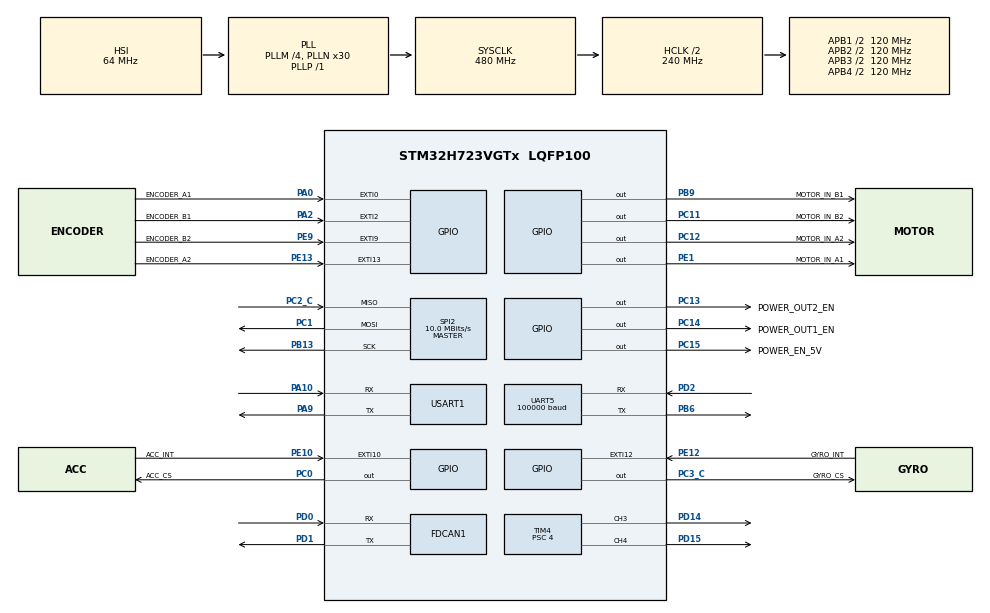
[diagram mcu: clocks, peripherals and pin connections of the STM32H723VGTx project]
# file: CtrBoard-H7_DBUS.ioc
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Dma.Request0=USART1_RX
Dma.Request1=SPI2_RX
Dma.Request2=SPI2_TX
Dma.Request3=UART5_RX
Dma.SPI2_RX.1.Direction=DMA_PERIPH_TO_MEMORY
Dma.SPI2_RX.1.EventEnable=DISABLE
Dma.SPI2_RX.1.FIFOMode=DMA_FIFOMODE_DISABLE
Dma.SPI2_RX.1.Instance=DMA1_Stream1
Dma.SPI2_RX.1.MemDataAlignment=DMA_MDATAALIGN_BYTE
Dma.SPI2_RX.1.MemInc=DMA_MINC_ENABLE
Dma.SPI2_RX.1.Mode=DMA_NORMAL
Dma.SPI2_RX.1.PeriphDataAlignment=DMA_PDATAALIGN_BYTE
Dma.SPI2_RX.1.PeriphInc=DMA_PINC_DISABLE
Dma.SPI2_RX.1.Polarity=HAL_DMAMUX_REQ_GEN_RISING
Dma.SPI2_RX.1.Priority=DMA_PRIORITY_VERY_HIGH
Dma.SPI2_RX.1.RequestNumber=1
Dma.SPI2_RX.1.SignalID=NONE
Dma.SPI2_RX.1.SyncEnable=DISABLE
Dma.SPI2_RX.1.SyncPolarity=HAL_DMAMUX_SYNC_NO_EVENT
Dma.SPI2_RX.1.SyncRequestNumber=1
Dma.SPI2_RX.1.SyncSignalID=NONE
Dma.SPI2_TX.2.Direction=DMA_MEMORY_TO_PERIPH
Dma.SPI2_TX.2.EventEnable=DISABLE
Dma.SPI2_TX.2.FIFOMode=DMA_FIFOMODE_DISABLE
Dma.SPI2_TX.2.Instance=DMA1_Stream2
Dma.SPI2_TX.2.MemDataAlignment=DMA_MDATAALIGN_BYTE
Dma.SPI2_TX.2.MemInc=DMA_MINC_ENABLE
Dma.SPI2_TX.2.Mode=DMA_NORMAL
Dma.SPI2_TX.2.PeriphDataAlignment=DMA_PDATAALIGN_BYTE
Dma.SPI2_TX.2.PeriphInc=DMA_PINC_DISABLE
Dma.SPI2_TX.2.Polarity=HAL_DMAMUX_REQ_GEN_RISING
Dma.SPI2_TX.2.Priority=DMA_PRIORITY_HIGH
Dma.SPI2_TX.2.RequestNumber=1
Dma.SPI2_TX.2.SignalID=NONE
Dma.SPI2_TX.2.SyncEnable=DISABLE
Dma.SPI2_TX.2.SyncPolarity=HAL_DMAMUX_SYNC_NO_EVENT
Dma.SPI2_TX.2.SyncRequestNumber=1
Dma.SPI2_TX.2.SyncSignalID=NONE
Dma.UART5_RX.3.Direction=DMA_PERIPH_TO_MEMORY
Dma.UART5_RX.3.EventEnable=DISABLE
Dma.UART5_RX.3.FIFOMode=DMA_FIFOMODE_DISABLE
Dma.UART5_RX.3.Instance=DMA1_Stream3
Dma.UART5_RX.3.MemDataAlignment=DMA_MDATAALIGN_BYTE
Dma.UART5_RX.3.MemInc=DMA_MINC_ENABLE
Dma.UART5_RX.3.Mode=DMA_NORMAL
Dma.UART5_RX.3.PeriphDataAlignment=DMA_PDATAALIGN_BYTE
Dma.UART5_RX.3.PeriphInc=DMA_PINC_DISABLE
Dma.UART5_RX.3.Polarity=HAL_DMAMUX_REQ_GEN_RISING
Dma.UART5_RX.3.Priority=DMA_PRIORITY_LOW
Dma.UART5_RX.3.RequestNumber=1
Dma.UART5_RX.3.SignalID=NONE
Dma.UART5_RX.3.SyncEnable=DISABLE
Dma.UART5_RX.3.SyncPolarity=HAL_DMAMUX_SYNC_NO_EVENT
Dma.UART5_RX.3.SyncRequestNumber=1
Dma.UART5_RX.3.SyncSignalID=NONE
Dma.USART1_RX.0.Direction=DMA_PERIPH_TO_MEMORY
Dma.USART1_RX.0.EventEnable=DISABLE
Dma.USART1_RX.0.FIFOMode=DMA_FIFOMODE_DISABLE
Dma.USART1_RX.0.Instance=DMA1_Stream0
Dma.USART1_RX.0.MemDataAlignment=DMA_MDATAALIGN_BYTE
Dma.USART1_RX.0.MemInc=DMA_MINC_ENABLE
Dma.USART1_RX.0.Mode=DMA_NORMAL
Dma.USART1_RX.0.PeriphDataAlignment=DMA_PDATAALIGN_BYTE
Dma.USART1_RX.0.PeriphInc=DMA_PINC_DISABLE
Dma.USART1_RX.0.Polarity=HAL_DMAMUX_REQ_GEN_RISING
Dma.USART1_RX.0.Priority=DMA_PRIORITY_LOW
Dma.USART1_RX.0.RequestNumber=1
Dma.USART1_RX.0.SignalID=NONE
Dma.USART1_RX.0.SyncEnable=DISABLE
Dma.USART1_RX.0.SyncPolarity=HAL_DMAMUX_SYNC_NO_EVENT
Dma.USART1_RX.0.SyncRequestNumber=1
Dma.USART1_RX.0.SyncSignalID=NONE
FDCAN1.AutoRetransmission=ENABLE
FDCAN1.CalculateBaudRateNominal=1000000
FDCAN1.CalculateTimeBitNominal=1000
FDCAN1.CalculateTimeQuantumNominal=12.5
FDCAN1.DataSyncJumpWidth=2
FDCAN1.DataTimeSeg1=13
FDCAN1.DataTimeSeg2=2
FDCAN1.ExtFiltersNbr=4
FDCAN1.FrameFormat=FDCAN_FRAME_CLASSIC
FDCAN1.NominalPrescaler=1
FDCAN1.NominalSyncJumpWidth=20
FDCAN1.NominalTimeSeg1=59
FDCAN1.NominalTimeSeg2=20
FDCAN1.ProtocolException=ENABLE
FDCAN1.RxBuffersNbr=2
FDCAN1.RxFifo0ElmtsNbr=8
FDCAN1.RxFifo1ElmtsNbr=8
FDCAN1.StdFiltersNbr=4
FDCAN1.TxBuffersNbr=8
FDCAN1.TxEventsNbr=8
FDCAN1.TxFifoQueueElmtsNbr=8
Mcu.Family=STM32H7
Mcu.Name=STM32H723VGTx
Mcu.Package=LQFP100
NVIC.DMA1_Stream0_IRQn=true\:0\:0\:false\:false\:true\:false\:true\:true
NVIC.DMA1_Stream1_IRQn=true\:0\:0\:false\:false\:true\:false\:true\:true
NVIC.DMA1_Stream2_IRQn=true\:0\:0\:false\:false\:true\:false\:true\:true
NVIC.DMA1_Stream3_IRQn=true\:0\:0\:false\:false\:true\:false\:true\:true
NVIC.EXTI0_IRQn=true\:0\:0\:false\:false\:true\:true\:true\:true
NVIC.EXTI15_10_IRQn=true\:0\:0\:false\:false\:true\:true\:true\:true
NVIC.EXTI2_IRQn=true\:0\:0\:false\:false\:true\:true\:true\:true
NVIC.EXTI9_5_IRQn=true\:0\:0\:false\:false\:true\:true\:true\:true
NVIC.FDCAN1_IT0_IRQn=true\:0\:0\:false\:false\:true\:true\:true\:true
NVIC.FDCAN1_IT1_IRQn=true\:0\:0\:false\:false\:true\:true\:true\:true
NVIC.PriorityGroup=NVIC_PRIORITYGROUP_4
NVIC.SPI2_IRQn=true\:0\:0\:false\:false\:true\:true\:true\:true
NVIC.TIM2_IRQn=true\:0\:0\:false\:false\:true\:true\:true\:true
NVIC.UART5_IRQn=true\:0\:0\:false\:false\:true\:true\:true\:true
NVIC.USART1_IRQn=true\:0\:0\:false\:false\:true\:true\:true\:true
PA0.GPIO_Label=ENCODER_A1
PA0.GPIO_ModeDefaultEXTI=GPIO_MODE_IT_RISING_FALLING
PA0.GPIO_PuPd=GPIO_NOPULL
PA0.Signal=GPXTI0
PA10.Mode=Asynchronous
PA10.Signal=USART1_RX
PA13(JTMS/SWDIO).Mode=Serial_Wire
PA13(JTMS/SWDIO).Signal=DEBUG_JTMS-SWDIO
PA14(JTCK/SWCLK).Mode=Serial_Wire
PA14(JTCK/SWCLK).Signal=DEBUG_JTCK-SWCLK
PA2.GPIO_Label=ENCODER_B1
PA2.GPIO_ModeDefaultEXTI=GPIO_MODE_IT_RISING_FALLING
PA2.GPIO_PuPd=GPIO_NOPULL
PA2.Signal=GPXTI2
PA9.Mode=Asynchronous
PA9.Signal=USART1_TX
PB13.GPIO_Speed=GPIO_SPEED_FREQ_VERY_HIGH
PB13.Mode=Full_Duplex_Master
PB13.Signal=SPI2_SCK
PB6.Mode=Asynchronous
PB6.Signal=UART5_TX
PB9.GPIO_Label=MOTOR_IN_B1
PB9.GPIO_Speed=GPIO_SPEED_FREQ_MEDIUM
PB9.Signal=GPIO_Output
PC0.GPIO_Label=ACC_CS
PC0.GPIO_Speed=GPIO_SPEED_FREQ_VERY_HIGH
PC0.PinState=GPIO_PIN_SET
PC0.Signal=GPIO_Output
PC1.GPIO_Speed=GPIO_SPEED_FREQ_VERY_HIGH
PC1.Mode=Full_Duplex_Master
PC1.Signal=SPI2_MOSI
PC11.GPIO_Label=MOTOR_IN_B2
PC11.GPIO_ModeDefaultOutputPP=GPIO_MODE_OUTPUT_PP
PC11.GPIO_PuPd=GPIO_NOPULL
PC11.GPIO_Speed=GPIO_SPEED_FREQ_MEDIUM
PC11.PinState=GPIO_PIN_RESET
PC11.Signal=GPIO_Output
PC12.GPIO_Label=MOTOR_IN_A2
PC12.GPIO_PuPd=GPIO_NOPULL
PC12.GPIO_Speed=GPIO_SPEED_FREQ_MEDIUM
PC12.Signal=GPIO_Output
PC13.GPIO_Label=POWER_OUT2_EN
PC13.GPIO_PuPd=GPIO_PULLUP
PC13.Signal=GPIO_Output
PC14-OSC32_IN.GPIO_Label=POWER_OUT1_EN
PC14-OSC32_IN.GPIO_PuPd=GPIO_PULLUP
PC14-OSC32_IN.PinState=GPIO_PIN_SET
PC14-OSC32_IN.Signal=GPIO_Output
PC15-OSC32_OUT.GPIO_Label=POWER_EN_5V
PC15-OSC32_OUT.GPIO_ModeDefaultOutputPP=GPIO_MODE_OUTPUT_PP
PC15-OSC32_OUT.GPIO_PuPd=GPIO_PULLUP
PC15-OSC32_OUT.PinState=GPIO_PIN_SET
PC15-OSC32_OUT.Signal=GPIO_Output
PC2_C.GPIO_Speed=GPIO_SPEED_FREQ_VERY_HIGH
PC2_C.Mode=Full_Duplex_Master
PC2_C.Signal=SPI2_MISO
PC3_C.GPIO_Label=GYRO_CS
PC3_C.GPIO_Speed=GPIO_SPEED_FREQ_VERY_HIGH
PC3_C.PinState=GPIO_PIN_SET
PC3_C.Signal=GPIO_Output
PD0.Mode=FDCAN_Activate
PD0.Signal=FDCAN1_RX
PD1.Mode=FDCAN_Activate
PD1.Signal=FDCAN1_TX
PD14.GPIO_PuPd=GPIO_PULLDOWN
PD14.Signal=S_TIM4_CH3
PD15.GPIO_PuPd=GPIO_PULLDOWN
PD15.Signal=S_TIM4_CH4
PD2.Mode=Asynchronous
PD2.Signal=UART5_RX
PE1.GPIO_Label=MOTOR_IN_A1
PE1.GPIO_PuPd=GPIO_NOPULL
PE1.GPIO_Speed=GPIO_SPEED_FREQ_MEDIUM
PE1.PinState=GPIO_PIN_RESET
PE1.Signal=GPIO_Output
PE10.GPIO_Label=ACC_INT
PE10.Signal=GPXTI10
PE12.GPIO_Label=GYRO_INT
PE12.Signal=GPXTI12
PE13.GPIO_Label=ENCODER_A2
PE13.GPIO_ModeDefaultEXTI=GPIO_MODE_IT_RISING_FALLING
PE13.GPIO_PuPd=GPIO_NOPULL
PE13.Signal=GPXTI13
PE9.GPIO_Label=ENCODER_B2
PE9.GPIO_ModeDefaultEXTI=GPIO_MODE_IT_RISING_FALLING
PE9.GPIO_PuPd=GPIO_NOPULL
PE9.Signal=GPXTI9
PH0-OSC_IN.Mode=HSE-External-Oscillator
PH0-OSC_IN.Signal=RCC_OSC_IN
PH1-OSC_OUT.Mode=HSE-External-Oscillator
PH1-OSC_OUT.Signal=RCC_OSC_OUT
ProjectManager.HeapSize=0x200
ProjectManager.StackSize=0x400
ProjectManager.TargetToolchain=MDK-ARM V5.32
RCC.ADCFreq_Value=129000000
RCC.APB1Freq_Value=120000000
RCC.APB2Freq_Value=120000000
RCC.APB3Freq_Value=120000000
RCC.APB4Freq_Value=120000000
RCC.CortexFreq_Value=480000000
RCC.D1PPRE=RCC_APB3_DIV2
RCC.D2PPRE1=RCC_APB1_DIV2
RCC.D2PPRE2=RCC_APB2_DIV2
RCC.D3PPRE=RCC_APB4_DIV2
RCC.DIVM1=4
RCC.DIVN1=30
RCC.DIVP1=1
RCC.DIVQ1=6
RCC.HCLKFreq_Value=240000000
RCC.HPRE=RCC_HCLK_DIV2
RCC.HSE_VALUE=24000000
RCC.SYSCLKFreq_VALUE=480000000
RCC.SYSCLKSource=RCC_SYSCLKSOURCE_PLLCLK
RCC.USBFreq_Value=80000000
SH.S_TIM4_CH3.0=TIM4_CH3,PWM Generation3 CH3
SH.S_TIM4_CH4.0=TIM4_CH4,PWM Generation4 CH4
SPI2.BaudRatePrescaler=SPI_BAUDRATEPRESCALER_8
SPI2.CLKPhase=SPI_PHASE_2EDGE
SPI2.CLKPolarity=SPI_POLARITY_HIGH
SPI2.CalculateBaudRate=10.0 MBits/s
SPI2.DataSize=SPI_DATASIZE_8BIT
SPI2.Direction=SPI_DIRECTION_2LINES
SPI2.Mode=SPI_MODE_MASTER
SPI2.VirtualType=VM_MASTER
TIM2.AutoReloadPreload=TIM_AUTORELOAD_PRELOAD_ENABLE
TIM2.ClockDivision=TIM_CLOCKDIVISION_DIV1
TIM2.Period=999
TIM2.Prescaler=239
TIM4.AutoReloadPreload=TIM_AUTORELOAD_PRELOAD_ENABLE
TIM4.Channel-PWM\ Generation3\ CH3=TIM_CHANNEL_3
TIM4.Channel-PWM\ Generation4\ CH4=TIM_CHANNEL_4
TIM4.Period=2525
TIM4.Prescaler=4
TIM4.Pulse-PWM\ Generation3\ CH3=0
UART5.BaudRate=100000
UART5.Parity=PARITY_EVEN
UART5.StopBits=UART_STOPBITS_2
UART5.WordLength=WORDLENGTH_9B
USART1.VirtualMode-Asynchronous=VM_ASYNC
VP_TIM2_VS_ClockSourceINT.Mode=Internal
VP_TIM4_VS_ClockSourceINT.Mode=Internal
board=custom

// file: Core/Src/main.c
/* USER CODE BEGIN Header */
/**
  ******************************************************************************
  * @file           : main.c
  * @brief          : Main program body
  ******************************************************************************
  * @attention
  *
  * Copyright (c) 2024 STMicroelectronics.
  * All rights reserved.
  *
  * This software is licensed under terms that can be found in the LICENSE file
  * in the root directory of this software component.
  * If no LICENSE file comes with this software, it is provided AS-IS.
  *
  ******************************************************************************
  */
/* USER CODE END Header */
#include "main.h"
#include "dma.h"
#include "fdcan.h"
#include "spi.h"
#include "tim.h"
#include "usart.h"
#include "gpio.h"

/* USER CODE BEGIN Includes */
#include "uart_bsp.h"
#include <stdbool.h>
#include <stdlib.h>  // 为abs函数添加头文件
#include "wheeltec_driver.h"
#include "gmr_encoder.h"
#include "bsp_fdcan.h"
#include "dm_motor_ctrl.h"
#include "roley_neck.h"
#include "BMI088driver.h"
#include "balance_control.h"
/* USER CODE END Includes */

/* USER CODE BEGIN PTD */
typedef enum{
  CONTROL_STATE_MANUAL = 0,
  CONTROL_STATE_BALANCE = 1,
  CONTROL_STATE_LINE_FOLLOWING = 2,
} control_state_t;
/* USER CODE END PTD */

/* USER CODE BEGIN PD */
# define PI           3.14159265358979323846  /* pi */
/* USER CODE END PD */

/* USER CODE BEGIN PV */
uint32_t last_update_time = 0;  // 上次更新时间
float encoder1_position = 0;
float encoder2_position = 0;
float encoder1_speed = 0;
float encoder2_speed = 0;
float encoder1_speed_mps = 0;
float encoder2_speed_mps = 0;
int32_t encoder1_count = 0;
int32_t encoder2_count = 0;
float encoder1_last_position = 0;
float encoder2_last_position = 0;
uint8_t throttle = 0;
// 平衡控制相关变量
float pitch_angle = 0.0f;    // 俯仰角
float pitch_gyro = 0.0f;     // 俯仰角速度
bool balance_mode = false;   // 平衡模式标志
control_state_t control_state = CONTROL_STATE_MANUAL; // 控制状态，默认是手动模式，可以切换到平衡小车，线控循迹
uint32_t dtms; // drinktoomuchsax，用来看程序有没有跑起来
/* USER CODE END PV */

void SystemClock_Config(void);
/* USER CODE BEGIN PFP */
void WheelTec_DifferentialDrive(uint8_t throttle, int8_t steering, bool reverse, uint8_t how_expert_are_u);
void update_control_state(void);
void update_neck_motor(void);
void manual_control(void);
/* USER CODE END PFP */

/* USER CODE BEGIN 0 */
remoter_t *tx_12 = NULL;

uint8_t temp_debug = 0;
uint8_t tx_data[8] = {6,6,6,6,6,6,6,6};
float gyro[3], accel[3], temp;

void HAL_TIM_PeriodElapsedCallback(TIM_HandleTypeDef *htim)
{
  if (htim->Instance == TIM2)
  {
    neck_motor_update(); // 每1ms更新一次颈部的两个电机
  }
}

/* USER CODE END 0 */

int main(void)
{

  /* MCU Configuration--------------------------------------------------------*/

  /* Reset of all peripherals, Initializes the Flash interface and the Systick. */
  HAL_Init();

  /* Configure the system clock */
  SystemClock_Config();

  /* Initialize all configured peripherals */
  MX_GPIO_Init();
  MX_DMA_Init();
  MX_USART1_UART_Init();
  MX_UART5_Init();
  MX_TIM4_Init();
  MX_FDCAN1_Init();
  MX_TIM2_Init();
  MX_SPI2_Init();
  /* USER CODE BEGIN 2 */
  UART_BSP_Init(); // SBUS初始化
  WheelTec_Init(); // GPIO和pwm初始化
  gmr_encoder_init();
	bsp_can_init();
  dm_motor_init();
  neck_motor_init(); // 初始化颈部的两个4310电机
  HAL_TIM_Base_Start_IT(&htim2); // 开启定时器2的中断，1ms给电机发送一次CAN消息
  balance_init(); // 初始化平衡控制

  WheelTec_PIDInit();
  // 初始化机器人控制结构体
  tx_12 = UART_BSP_GetRemoterData();

  while(BMI088_init())
  {
      ;
  }
  /* USER CODE END 2 */

  /* Infinite loop */
  /* USER CODE BEGIN WHILE */
  while (1)
  {
    // 每10ms更新一次机器人控制
    if (HAL_GetTick() - last_update_time >= 10)
    {
      // 调试用
      dtms ++; // 程序有没有跑起来
      if(dtms % 100 == 0){
        fdcanx_send_data(&hfdcan1, 0x666, tx_data, 8); // 每1s发送一次0x666的CAN消息
      }

      // 读取IMU数据
      BMI088_read(gyro, accel, &temp);

      // 计算俯仰角（使用加速度计数据）
      pitch_angle = atan2f(accel[2], -accel[1]) * 180.0f / PI; // deg
      pitch_gyro = gyro[0];  // 使用Y轴陀螺仪数据

      encoder1_last_position = encoder1_position;
      encoder2_last_position = encoder2_position;

      encoder1_position = gmr_encoder_get_position(ENCODER_1);
      encoder2_position = gmr_encoder_get_position(ENCODER_2);

      // 计算两个轮子的速度
      encoder1_speed = (encoder1_position - encoder1_last_position) / 0.01f;  // 度/秒
      encoder2_speed = (encoder2_position - encoder2_last_position) / 0.01f;

      // 模式检查，是否解锁底盘，现在是哪个模式
      bool chassis_unlock = tx_12->key.left_shoulder == KEY_DOWN;
      update_control_state();

      update_neck_motor(); // 不管什么模式，都要更新颈部电机
      if (tx_12->online) {
        if (chassis_unlock) {
          if (control_state == CONTROL_STATE_MANUAL) { // 手动模式
            manual_control();
          }else if(control_state == CONTROL_STATE_BALANCE){ // 平衡小车模式
            balance_update(pitch_angle, encoder1_speed+encoder2_speed);
          }else if(control_state == CONTROL_STATE_LINE_FOLLOWING){ // 线控循迹模式
            WheelTec_StopAll();
            // TODO: line_follow_update();
          }
        }else{
          // 底盘解锁，但是没有按下遥控器，停止所有电机
          WheelTec_StopAll();
        }
      } else {
        // 遥控器离线，停止所有电机
        temp_debug = 0;
        WheelTec_StopAll();
      }

      // 换算成米每秒
      float wheel_diameter = 8*0.0254f; // 轮子直径,inch to meter
      float wheel_circumference = wheel_diameter * PI; // 轮子周长
      // 周长 = 直径*pi
      // 直线速度 = 轮子转速 * 周长
      // 轮子转速: 每秒转几圈
      // encoder1_speed：度每秒
      float angular_speed1 = encoder1_speed * (PI / 180.0f);  // 弧度/秒
      float angular_speed2 = encoder2_speed * (PI / 180.0f);  // 弧度/秒
      encoder1_speed_mps = angular_speed1 * wheel_circumference;
      encoder2_speed_mps = angular_speed2 * wheel_circumference;

      last_update_time = HAL_GetTick();
    }
    /* USER CODE END WHILE */

  }
}

void SystemClock_Config(void)
{
  RCC_OscInitTypeDef RCC_OscInitStruct = {0};
  RCC_ClkInitTypeDef RCC_ClkInitStruct = {0};

  /** Supply configuration update enable
  */
  HAL_PWREx_ConfigSupply(PWR_LDO_SUPPLY);

  /** Configure the main internal regulator output voltage
  */
  __HAL_PWR_VOLTAGESCALING_CONFIG(PWR_REGULATOR_VOLTAGE_SCALE0);

  while(!__HAL_PWR_GET_FLAG(PWR_FLAG_VOSRDY)) {}

  /** Initializes the RCC Oscillators according to the specified parameters
  * in the RCC_OscInitTypeDef structure.
  */
  RCC_OscInitStruct.OscillatorType = RCC_OSCILLATORTYPE_HSI;
  RCC_OscInitStruct.HSIState = RCC_HSI_DIV1;
  RCC_OscInitStruct.HSICalibrationValue = 64;
  RCC_OscInitStruct.PLL.PLLState = RCC_PLL_ON;
  RCC_OscInitStruct.PLL.PLLSource = RCC_PLLSOURCE_HSI;
  RCC_OscInitStruct.PLL.PLLM = 4;
  RCC_OscInitStruct.PLL.PLLN = 30;
  RCC_OscInitStruct.PLL.PLLP = 1;
  RCC_OscInitStruct.PLL.PLLQ = 6;
  RCC_OscInitStruct.PLL.PLLR = 2;
  RCC_OscInitStruct.PLL.PLLRGE = RCC_PLL1VCIRANGE_3;
  RCC_OscInitStruct.PLL.PLLVCOSEL = RCC_PLL1VCOWIDE;
  RCC_OscInitStruct.PLL.PLLFRACN = 0;
  if (HAL_RCC_OscConfig(&RCC_OscInitStruct) != HAL_OK)
  {
    Error_Handler();
  }

  /** Initializes the CPU, AHB and APB buses clocks
  */
  RCC_ClkInitStruct.ClockType = RCC_CLOCKTYPE_HCLK|RCC_CLOCKTYPE_SYSCLK
                              |RCC_CLOCKTYPE_PCLK1|RCC_CLOCKTYPE_PCLK2
                              |RCC_CLOCKTYPE_D3PCLK1|RCC_CLOCKTYPE_D1PCLK1;
  RCC_ClkInitStruct.SYSCLKSource = RCC_SYSCLKSOURCE_PLLCLK;
  RCC_ClkInitStruct.SYSCLKDivider = RCC_SYSCLK_DIV1;
  RCC_ClkInitStruct.AHBCLKDivider = RCC_HCLK_DIV2;
  RCC_ClkInitStruct.APB3CLKDivider = RCC_APB3_DIV2;
  RCC_ClkInitStruct.APB1CLKDivider = RCC_APB1_DIV2;
  RCC_ClkInitStruct.APB2CLKDivider = RCC_APB2_DIV2;
  RCC_ClkInitStruct.APB4CLKDivider = RCC_APB4_DIV2;

  if (HAL_RCC_ClockConfig(&RCC_ClkInitStruct, FLASH_LATENCY_3) != HAL_OK)
  {
    Error_Handler();
  }
}

/* USER CODE BEGIN 4 */
/**
  * @brief  差速驱动控制函数
  * @param  throttle: 油门值 (0-100)
  * @param  steering: 转向值 (-100~100)
  * @param  reverse: 是否倒车模式
  * @param  how_expert_are_u: 你有多专业 (0-100)，越专业速度越快
  * @retval None
  */
void WheelTec_DifferentialDrive(uint8_t throttle, int8_t steering, bool reverse, uint8_t how_expert_are_u)
{
  // 计算左右轮的转速
  uint8_t left_speed = 0;
  uint8_t right_speed = 0;

  // 映射油门值
  if(how_expert_are_u > 100) how_expert_are_u = 100;

  if(how_expert_are_u < 100){
    throttle = throttle * how_expert_are_u / 100;
    steering = steering * how_expert_are_u / 100;
    steering = steering * 2;
  }

  if(throttle > 1){
    // 限制转速在0到100之间
    left_speed = (uint8_t)(throttle*(1 + (float)steering/100));
    right_speed = (uint8_t)(throttle*(1 - (float)steering/100));
    if (left_speed < 0) left_speed = 0;
    if (left_speed > 100) left_speed = 100;
    if (right_speed < 0) right_speed = 0;
    if (right_speed > 100) right_speed = 100;

    if (reverse) {
      WheelTec_Control(MOTOR_CHANNEL_2, MOTOR_DIRECTION_CW, left_speed);
      WheelTec_Control(MOTOR_CHANNEL_1, MOTOR_DIRECTION_CW, right_speed);
    } else {
      WheelTec_Control(MOTOR_CHANNEL_2, MOTOR_DIRECTION_CCW, left_speed);
      WheelTec_Control(MOTOR_CHANNEL_1, MOTOR_DIRECTION_CCW, right_speed);
    }
  } else {
    // 如果油门为0，则只控制转向
    if(steering > 0){
      left_speed = steering/2;
      right_speed = steering/2;
      WheelTec_Control(MOTOR_CHANNEL_2, MOTOR_DIRECTION_CCW, left_speed);
      WheelTec_Control(MOTOR_CHANNEL_1, MOTOR_DIRECTION_CW, right_speed);
    } else if (steering < 0){
      left_speed = -steering/2;
      right_speed = -steering/2;
      WheelTec_Control(MOTOR_CHANNEL_2, MOTOR_DIRECTION_CW, left_speed);
      WheelTec_Control(MOTOR_CHANNEL_1, MOTOR_DIRECTION_CCW, right_speed);
    } else {
      WheelTec_Stop(MOTOR_CHANNEL_1);
      WheelTec_Stop(MOTOR_CHANNEL_2);
    }
  }
}

/**
 * @brief 根据遥控器右肩键更新控制状态，右上为平衡，右中为线控循迹，右下为手动
 *
 */
void update_control_state(void){
  if (tx_12->key.right_shoulder == KEY_DOWN)
  {
    control_state = CONTROL_STATE_MANUAL;
  }
  else if(tx_12->key.right_shoulder == KEY_MID)
  {
    control_state = CONTROL_STATE_LINE_FOLLOWING;
  }else if(tx_12->key.right_shoulder == KEY_UP)
  {
    control_state = CONTROL_STATE_BALANCE;
  }else{
    control_state = CONTROL_STATE_MANUAL;
  }
}

/**
 * @brief 控制颈部两个4310电机
 *
 */
void update_neck_motor(void){
  // 颈部电机控制
  float neck_yaw_left_limit = -PI * (75.0f/180.0f); //75度
  float neck_yaw_right_limit = PI * (75.0f/180.0f); //75度
  float neck_pitch_lower_limit = -PI * (10.0f/180.0f); //按道理应该10度，这个地方是有一些上下限问题，请忽视这个命名
  float neck_pitch_upper_limit = PI * (20.0f/180.0f); //按道理20度，同上
  float yaw_angle = -(tx_12->joy_percent.right_hori/100.0f) * PI/2;
  float pitch_angle = -(tx_12->joy_percent.right_vert/100.0f) * PI/2;
  neck_rotate_yaw(yaw_angle, neck_yaw_left_limit, neck_yaw_right_limit);
  neck_rotate_pitch(pitch_angle, neck_pitch_lower_limit, neck_pitch_upper_limit);
}

/**
 * @brief 手动控制底盘，有三种模式，完全手动，带运动学控制，全速运动学控制
 *
 */
void manual_control(void){
  if (tx_12->key.left_face == KEY_MID && tx_12->key.right_face == KEY_MID) {// 左中右中，左右摇杆各控制左右电机
    // 左摇杆控制左电机
    if (tx_12->joy_percent.left_vert > 10) {
      // 前进
      WheelTec_Control(MOTOR_CHANNEL_1, MOTOR_DIRECTION_CW, abs(tx_12->joy_percent.left_vert));
    } else if (tx_12->joy_percent.left_vert < -10) {
      // 后退
      WheelTec_Control(MOTOR_CHANNEL_1, MOTOR_DIRECTION_CCW, abs(tx_12->joy_percent.left_vert));
    } else {
      // 停止
      WheelTec_Stop(MOTOR_CHANNEL_1);
    }
    // 右摇杆控制右电机
    if (tx_12->joy_percent.right_vert > 10) {
      // 前进
      WheelTec_Control(MOTOR_CHANNEL_2, MOTOR_DIRECTION_CW, abs(tx_12->joy_percent.right_vert));
    } else if (tx_12->joy_percent.right_vert < -10) {
      // 后退
      WheelTec_Control(MOTOR_CHANNEL_2, MOTOR_DIRECTION_CCW, abs(tx_12->joy_percent.right_vert));
    } else {
      // 停止
      WheelTec_Stop(MOTOR_CHANNEL_2);
    }
  } else if (tx_12->key.left_face == KEY_DOWN && tx_12->key.right_face == KEY_DOWN) {// 左下右下，普通运动学控制
    // 运动学控制，两轮差速，left_vert控制前进的油门（-100为0油门，100为100油门，没有后退）,，right_hori控制转向
    // baby速度前进
    WheelTec_DifferentialDrive(tx_12->throttle, tx_12->joy_percent.left_hori, false, 30);
  } else if (tx_12->key.left_face == KEY_DOWN && tx_12->key.right_face == KEY_UP) { // 左下右上，倒挡
    // baby速度倒挡
    WheelTec_DifferentialDrive(tx_12->throttle, tx_12->joy_percent.left_hori, true, 30);
  } else if (tx_12->key.left_face == KEY_UP && tx_12->key.right_face == KEY_DOWN) { // 左上右下，全速运动学控制
    // 全速前进
    WheelTec_DifferentialDrive(tx_12->throttle, tx_12->joy_percent.right_hori, false, 100);
  } else if (tx_12->key.left_face == KEY_UP && tx_12->key.right_face == KEY_UP) { // 左上右上，全速倒挡
    // 全速倒挡
    WheelTec_DifferentialDrive(tx_12->throttle, tx_12->joy_percent.right_hori, true, 100);
  } else {
    // 停止所有电机
    WheelTec_StopAll();
  }
}
/* USER CODE END 4 */

void Error_Handler(void)
{
  __disable_irq();
  while (1)
  {
  }
}
